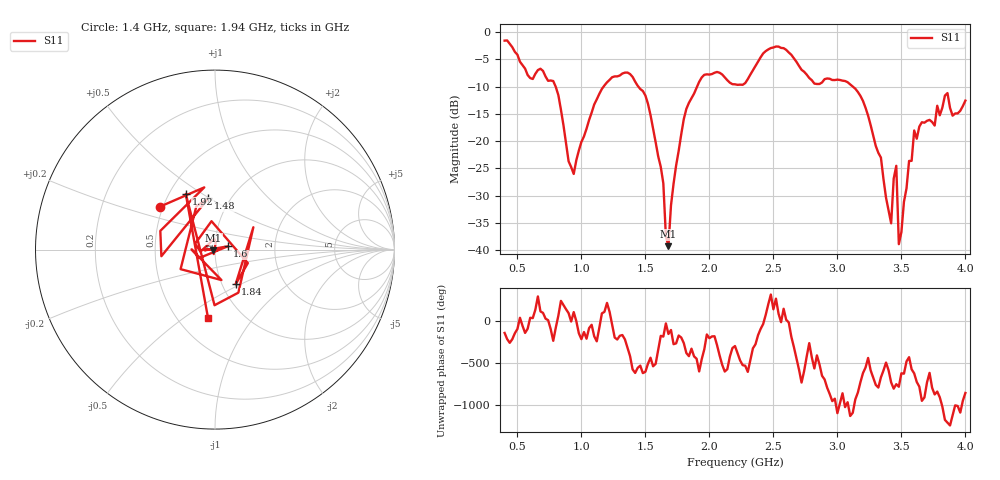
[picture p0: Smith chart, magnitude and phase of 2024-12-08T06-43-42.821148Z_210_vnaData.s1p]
!Created with skrf (http://scikit-rf.org).
# Hz S RI R 50.0
!freq ReS11 ImS11
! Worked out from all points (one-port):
!   181 points, 400 MHz to 4 GHz, reference 50 ohm
!   lowest |S11| = -39.3 dB at 1.68 GHz (marker M1), VSWR 1.02, Z = 49 - j0.473 ohm
!   |S11| at or under -10 dB: 799.1 MHz to 1.173 GHz (373.7 MHz wide, 37.9 % of centre); 1.445 GHz to 1.903 GHz (457.8 MHz wide, 27.3 % of centre); 3.121 GHz to end of sweep
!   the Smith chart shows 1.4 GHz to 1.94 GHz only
!   S11 on the Smith chart (normalised r, x): 1.4 GHz: 0.48, +0.27; 1.48 GHz: 0.79, +0.49; 1.6 GHz: 1.15, +0.04; 1.84 GHz: 1.16, -0.47; 1.92 GHz: 0.61, +0.43; 1.94 GHz: 0.70, -0.62
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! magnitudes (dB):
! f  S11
! 400 MHz  -1.5
! 780 MHz  -9.0
! 860 MHz  -17.1
! 940 MHz  -26.0
! 1.1 GHz  -13.3
! 1.3 GHz  -7.9
! 1.4 GHz  -8.2
! 1.48 GHz  -10.8
! 1.6 GHz  -22.8
! 1.68 GHz  -39.3
! 1.76 GHz  -21.8
! 1.84 GHz  -13.0
! 1.92 GHz  -9.1
! 1.94 GHz  -8.3
! 2.2 GHz  -9.6
! 2.48 GHz  -2.9
! 2.66 GHz  -4.8
! 3.1 GHz  -9.6
! 3.34 GHz  -23.0
! 3.42 GHz  -35.1
! 3.46 GHz  -24.5
! 3.48 GHz  -38.9
! 3.56 GHz  -23.6
! 3.6 GHz  -18.0
! 3.76 GHz  -17.1
! 3.84 GHz  -11.6
! 3.9 GHz  -15.3
! 4 GHz  -12.6
